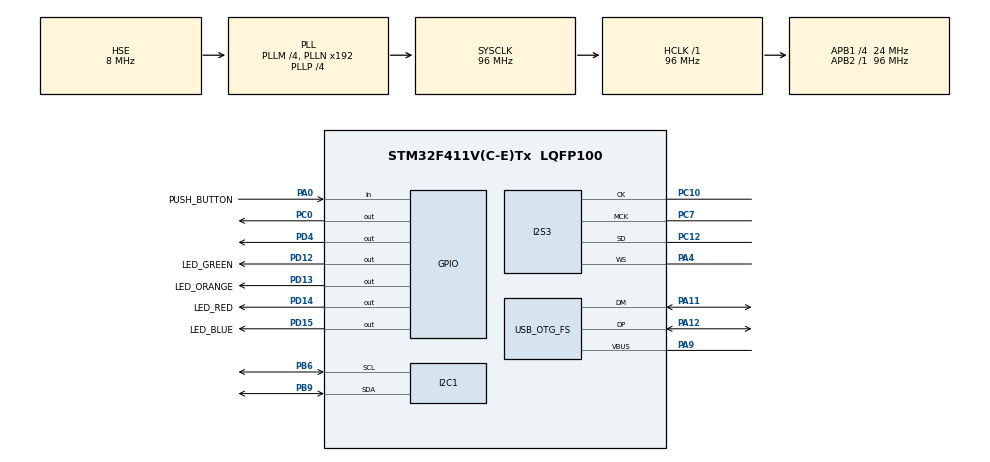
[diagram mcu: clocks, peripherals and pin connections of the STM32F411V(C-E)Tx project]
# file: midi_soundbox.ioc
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Dma.Request0=SPI3_TX
Dma.SPI3_TX.0.Direction=DMA_MEMORY_TO_PERIPH
Dma.SPI3_TX.0.FIFOMode=DMA_FIFOMODE_ENABLE
Dma.SPI3_TX.0.FIFOThreshold=DMA_FIFO_THRESHOLD_FULL
Dma.SPI3_TX.0.Instance=DMA1_Stream5
Dma.SPI3_TX.0.MemBurst=DMA_MBURST_SINGLE
Dma.SPI3_TX.0.MemDataAlignment=DMA_MDATAALIGN_HALFWORD
Dma.SPI3_TX.0.MemInc=DMA_MINC_ENABLE
Dma.SPI3_TX.0.Mode=DMA_CIRCULAR
Dma.SPI3_TX.0.PeriphBurst=DMA_PBURST_SINGLE
Dma.SPI3_TX.0.PeriphDataAlignment=DMA_PDATAALIGN_HALFWORD
Dma.SPI3_TX.0.PeriphInc=DMA_PINC_DISABLE
Dma.SPI3_TX.0.Priority=DMA_PRIORITY_LOW
I2S3.AudioFreq=I2S_AUDIOFREQ_48K
I2S3.ErrorAudioFreq=0.15 %
I2S3.FullDuplexMode=I2S_FULLDUPLEXMODE_DISABLE
I2S3.Instance=SPI$Index
I2S3.RealAudioFreq=48.076 KHz
I2S3.VirtualMode=I2S_MODE_MASTER
Mcu.Family=STM32F4
Mcu.Name=STM32F411V(C-E)Tx
Mcu.Package=LQFP100
NVIC.DMA1_Stream5_IRQn=true\:0\:0\:false\:false\:true\:false\:true\:true
NVIC.OTG_FS_IRQn=true\:0\:0\:false\:false\:true\:false\:true\:true
NVIC.PriorityGroup=NVIC_PRIORITYGROUP_0
PA0-WKUP.GPIO_Label=PUSH_BUTTON
PA0-WKUP.Signal=GPIO_Input
PA11.Mode=Host_Only
PA11.Signal=USB_OTG_FS_DM
PA12.Mode=Host_Only
PA12.Signal=USB_OTG_FS_DP
PA4.Mode=Half_Duplex_Master
PA4.Signal=I2S3_WS
PA9.Mode=Activate_VBUS
PA9.Signal=USB_OTG_FS_VBUS
PB6.Mode=I2C
PB6.Signal=I2C1_SCL
PB9.Mode=I2C
PB9.Signal=I2C1_SDA
PC0.Signal=GPIO_Output
PC10.Mode=Half_Duplex_Master
PC10.Signal=I2S3_CK
PC12.Mode=Half_Duplex_Master
PC12.Signal=I2S3_SD
PC7.Mode=Master_Clock_Activated
PC7.Signal=I2S3_MCK
PD12.GPIO_Label=LED_GREEN
PD12.Signal=GPIO_Output
PD13.GPIO_Label=LED_ORANGE
PD13.Signal=GPIO_Output
PD14.GPIO_Label=LED_RED
PD14.Signal=GPIO_Output
PD15.GPIO_Label=LED_BLUE
PD15.Signal=GPIO_Output
PD4.Signal=GPIO_Output
PH0\ -\ OSC_IN.Mode=HSE-External-Oscillator
PH0\ -\ OSC_IN.Signal=RCC_OSC_IN
PH1\ -\ OSC_OUT.Mode=HSE-External-Oscillator
PH1\ -\ OSC_OUT.Signal=RCC_OSC_OUT
ProjectManager.HeapSize=0x200
ProjectManager.StackSize=0x400
ProjectManager.TargetToolchain=STM32CubeIDE
RCC.48MHZClocksFreq_Value=48000000
RCC.AHBFreq_Value=96000000
RCC.APB1CLKDivider=RCC_HCLK_DIV4
RCC.APB1Freq_Value=24000000
RCC.APB1TimFreq_Value=48000000
RCC.APB2Freq_Value=96000000
RCC.APB2TimFreq_Value=96000000
RCC.CortexFreq_Value=96000000
RCC.HCLKFreq_Value=96000000
RCC.HSE_VALUE=8000000
RCC.HSI_VALUE=16000000
RCC.LSE_VALUE=32768
RCC.PLLI2SM=5
RCC.PLLI2SN=200
RCC.PLLM=4
RCC.PLLP=RCC_PLLP_DIV4
RCC.PLLQ=8
RCC.SYSCLKFreq_VALUE=96000000
RCC.SYSCLKSource=RCC_SYSCLKSOURCE_PLLCLK
RCC.VCOOutputFreq_Value=384000000
USB_HOST.BSP.number=1
USB_HOST.USBH_HandleTypeDef=hUsbHostFS
USB_HOST.VirtualModeFS=Audio
USB_HOST0.BSP.STBoard=false
USB_HOST0.BSP.api=Unknown
USB_HOST0.BSP.instance=PC0
USB_HOST0.BSP.ip=GPIO
USB_HOST0.BSP.mode=Output
USB_HOST0.BSP.name=Drive_VBUS_FS
USB_HOST0.BSP.solution=PC0
USB_OTG_FS.VirtualMode=Host_Only
USB_OTG_FS.phy_itface=HCD_PHY_EMBEDDED
VP_USB_HOST_VS_USB_HOST_AUDIO_FS.Mode=AUDIO_FS
board=STM32F411E-DISCO

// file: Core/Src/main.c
/* USER CODE BEGIN Header */
/**
  ******************************************************************************
  * @file           : main.c
  * @brief          : Main program body
  ******************************************************************************
  * @attention
  *
  * Copyright (c) 2023 STMicroelectronics.
  * All rights reserved.
  *
  * This software is licensed under terms that can be found in the LICENSE file
  * in the root directory of this software component.
  * If no LICENSE file comes with this software, it is provided AS-IS.
  *
  ******************************************************************************
  */
/* USER CODE END Header */
#include "main.h"
#include "dma.h"
#include "i2c.h"
#include "i2s.h"
#include "gpio.h"

void SystemClock_Config(void);

/* USER CODE BEGIN 0 */

// HERE

/* USER CODE END 0 */

int main(void)
{

  /* MCU Configuration--------------------------------------------------------*/

  /* Reset of all peripherals, Initializes the Flash interface and the Systick. */
  HAL_Init();

  /* Configure the system clock */
  SystemClock_Config();

  /* Initialize all configured peripherals */
  MX_GPIO_Init();
  MX_DMA_Init();
  MX_I2C1_Init();
  MX_I2S3_Init();
  /* USER CODE BEGIN 2 */

  uint8_t counter = 0;

  counter += Codec_Init();
  counter += Codec_SetVolume(80);
  counter += Codec_Play();
  if (counter) {
    Error_Handler();
  }
  Synth_Init();
  Synth_Play();

  HAL_GPIO_WritePin(LED_BLUE_GPIO_Port, LED_BLUE_Pin, GPIO_PIN_SET);

  int8_t wasClicked = 0;
  /* USER CODE END 2 */

  /* Infinite loop */
  while (1)
  {

    /* USER CODE BEGIN 3 */
	Synth_Key_Press(1);

//	Synth_Key_Press();
	// turn off the codec when button is pressed
	if (HAL_GPIO_ReadPin(PUSH_BUTTON_GPIO_Port, PUSH_BUTTON_Pin)) {
		if (!wasClicked) {
			//
			Synth_Key_Press(0);
			//
			wasClicked = 1;
		}
	} else {
		wasClicked = 0;
		Synth_Key_Release(0);
	}
  }
  /* USER CODE END 3 */
}

void SystemClock_Config(void)
{
  RCC_OscInitTypeDef RCC_OscInitStruct = {0};
  RCC_ClkInitTypeDef RCC_ClkInitStruct = {0};

  /** Configure the main internal regulator output voltage
  */
  __HAL_RCC_PWR_CLK_ENABLE();
  __HAL_PWR_VOLTAGESCALING_CONFIG(PWR_REGULATOR_VOLTAGE_SCALE1);

  /** Initializes the RCC Oscillators according to the specified parameters
  * in the RCC_OscInitTypeDef structure.
  */
  RCC_OscInitStruct.OscillatorType = RCC_OSCILLATORTYPE_HSE;
  RCC_OscInitStruct.HSEState = RCC_HSE_ON;
  RCC_OscInitStruct.PLL.PLLState = RCC_PLL_ON;
  RCC_OscInitStruct.PLL.PLLSource = RCC_PLLSOURCE_HSE;
  RCC_OscInitStruct.PLL.PLLM = 4;
  RCC_OscInitStruct.PLL.PLLN = 192;
  RCC_OscInitStruct.PLL.PLLP = RCC_PLLP_DIV4;
  RCC_OscInitStruct.PLL.PLLQ = 8;
  if (HAL_RCC_OscConfig(&RCC_OscInitStruct) != HAL_OK)
  {
    Error_Handler();
  }

  /** Initializes the CPU, AHB and APB buses clocks
  */
  RCC_ClkInitStruct.ClockType = RCC_CLOCKTYPE_HCLK|RCC_CLOCKTYPE_SYSCLK
                              |RCC_CLOCKTYPE_PCLK1|RCC_CLOCKTYPE_PCLK2;
  RCC_ClkInitStruct.SYSCLKSource = RCC_SYSCLKSOURCE_PLLCLK;
  RCC_ClkInitStruct.AHBCLKDivider = RCC_SYSCLK_DIV1;
  RCC_ClkInitStruct.APB1CLKDivider = RCC_HCLK_DIV4;
  RCC_ClkInitStruct.APB2CLKDivider = RCC_HCLK_DIV1;

  if (HAL_RCC_ClockConfig(&RCC_ClkInitStruct, FLASH_LATENCY_3) != HAL_OK)
  {
    Error_Handler();
  }
}

void Error_Handler(void)
{
  /* USER CODE BEGIN Error_Handler_Debug */
  /* User can add his own implementation to report the HAL error return state */
  HAL_GPIO_WritePin(LED_ORANGE_GPIO_Port, LED_ORANGE_Pin, GPIO_PIN_SET);
  __disable_irq();
  while (1)
  {
  }
  /* USER CODE END Error_Handler_Debug */
}
